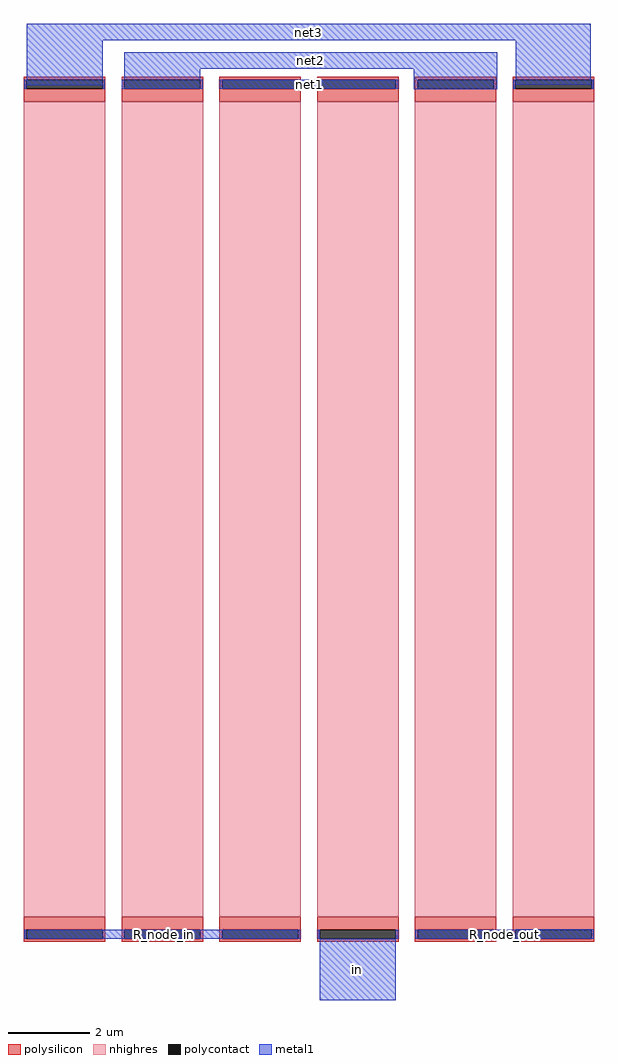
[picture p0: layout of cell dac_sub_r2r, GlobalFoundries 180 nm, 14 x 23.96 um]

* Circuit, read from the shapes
.subckt dac_sub_r2r R_node_in in R_node_out
XR1 net3 R_node_in VSUBS ppolyf_u_1k r_width=2u r_length=20u
XR2 net2 R_node_in VSUBS ppolyf_u_1k r_width=2u r_length=20u
XR3 net1 R_node_in VSUBS ppolyf_u_1k r_width=2u r_length=20u
XR4 net1 in VSUBS ppolyf_u_1k r_width=2u r_length=20u
XR5 net2 R_node_out VSUBS ppolyf_u_1k r_width=2u r_length=20u
XR6 net3 R_node_out VSUBS ppolyf_u_1k r_width=2u r_length=20u
.ends

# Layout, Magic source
magic
tech gf180mcuD
magscale 1 10
<< metal1 >>
rect 120 4611 2889 4690
rect 120 4610 1951 4611
rect 120 4390 494 4610
rect 599 4471 2430 4551
rect 599 4417 973 4471
rect 588 4371 984 4417
rect 1079 4371 1933 4417
rect 2020 4370 2430 4471
rect 2521 4391 2889 4611
rect 2520 245 2900 246
rect 127 199 1464 245
rect 2039 200 2900 245
rect 2039 199 2889 200
rect 1559 -101 1933 199
use ppolyf_u_1k_RUZ9QZ  ppolyf_u_1k_RUZ9QZ_0
transform 1 0 1506 0 1 2308
box -1400 -2122 1400 2122
<< labels >>
flabel metal1 1559 -101 1933 199 0 FreeSans 1600 0 0 0 in
port 2 nsew
flabel metal1 2039 199 2889 245 0 FreeSans 800 0 0 0 R_node_out
port 3 nsew
flabel metal1 127 199 1464 245 0 FreeSans 800 0 0 0 R_node_in
port 1 nsew
flabel metal1 1079 4371 1933 4417 0 FreeSans 800 0 0 0 net1
flabel metal1 599 4471 2430 4551 0 FreeSans 800 0 0 0 net2
flabel metal1 120 4611 2889 4690 0 FreeSans 800 0 0 0 net3
<< end >>

# cell ppolyf_u_1k_RUZ9QZ: kit device ppolyf_u_1k, w 2 l 20 m 1 nx 6 wmin 1.000 lmin 1.000 class resistor rho 1000 val 10.0k dummy 0 dw 0.0 term 0.0 sterm 0.0 caplen 0.4 snake 0 glc 0 grc 0 gtc 0 gbc 0 roverlap 1 endcov 100 full_metal 0 compatible {ppolyf_u_1k ppolyf_u_1k_6p0}
